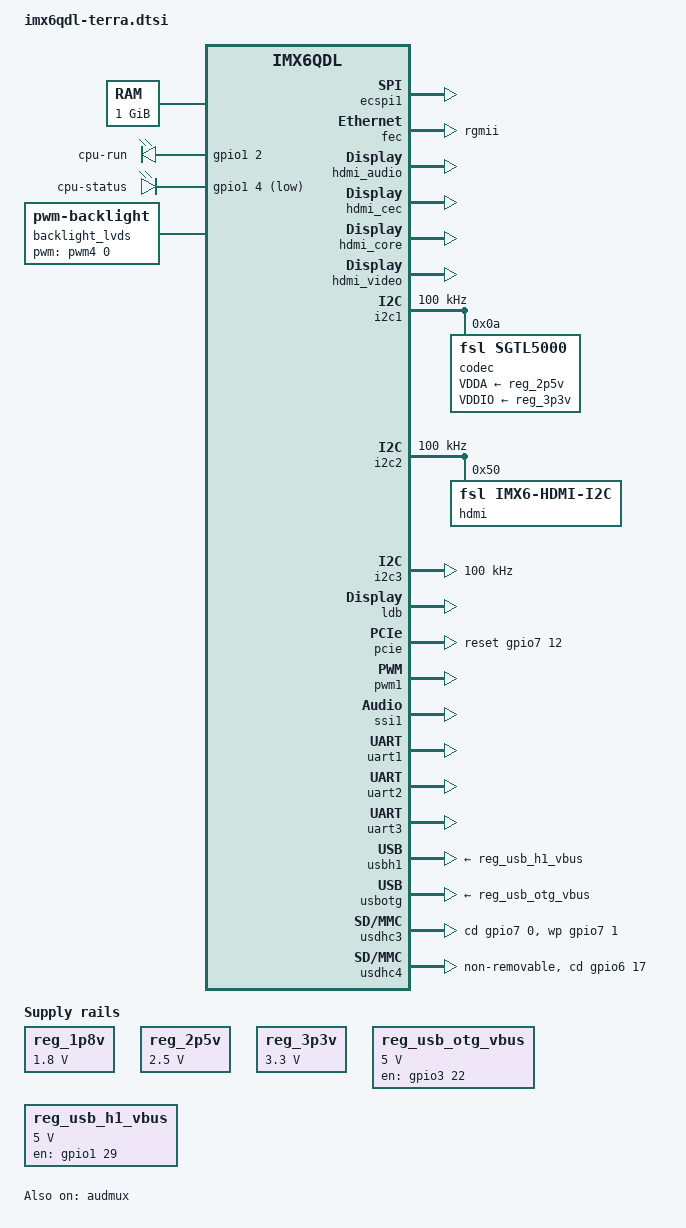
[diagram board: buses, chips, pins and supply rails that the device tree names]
/*
 * Copyright 2013 Boundary Devices
 * Copyright 2012 Freescale Semiconductor, Inc.
 * Copyright 2011 Linaro Ltd.
 *
 * The code contained herein is licensed under the GNU General Public
 * License. You may obtain a copy of the GNU General Public License
 * Version 2 or later at the following locations:
 *
 * http://www.opensource.org/licenses/gpl-license.html
 * http://www.gnu.org/copyleft/gpl.html
 */
#include <dt-bindings/input/input.h>

/ {
	aliases {
		mxcfb0 = &mxcfb1;
		mxcfb1 = &mxcfb2;
		mxcfb2 = &mxcfb3;
		mxcfb3 = &mxcfb4;
	};

	memory {
		reg = <0x10000000 0x40000000>;
	};

	leds {
		compatible = "gpio-leds";

		cpu-run {
			label = "cpu-run";
			gpios = <&gpio1 2 0>; 
			linux,default-trigger = "timer";
			retain-state-suspended;
		};
		cpu-status {
			label = "cpu-status";
			gpios = <&gpio1 4 1>; 
			linux,default-trigger = "none";
			retain-state-suspended;
		};
	};  

	regulators {
		compatible = "simple-bus";

		reg_1p8v: 1p8v {
			compatible = "regulator-fixed";
			regulator-name = "1P8V";
			regulator-min-microvolt = <1800000>;
			regulator-max-microvolt = <1800000>;
			regulator-always-on;
		};

		reg_2p5v: 2p5v {
			compatible = "regulator-fixed";
			regulator-name = "2P5V";
			regulator-min-microvolt = <2500000>;
			regulator-max-microvolt = <2500000>;
			regulator-always-on;
		};

		reg_3p3v: 3p3v {
			compatible = "regulator-fixed";
			regulator-name = "3P3V";
			regulator-min-microvolt = <3300000>;
			regulator-max-microvolt = <3300000>;
			regulator-always-on;
		};

		reg_usb_otg_vbus: usb_otg_vbus {
			compatible = "regulator-fixed";
			regulator-name = "usb_otg_vbus";
			regulator-min-microvolt = <5000000>;
			regulator-max-microvolt = <5000000>;
			gpio = <&gpio3 22 0>;
			enable-active-high;
		};

		reg_usb_h1_vbus: usb_h1_vbus {
			compatible = "regulator-fixed";
			regulator-name = "usb_h1_vbus";
			regulator-min-microvolt = <5000000>;
			regulator-max-microvolt = <5000000>;
			gpio = <&gpio1 29 0>;
			enable-active-high;
		};
	};

	sound {
		compatible = "fsl,imx6q-terra-sgtl5000",
			     "fsl,imx-audio-sgtl5000";
		model = "imx6q-terra-sgtl5000";
		ssi-controller = <&ssi1>;
		audio-codec = <&codec>;
		audio-routing =
			"MIC_IN", "Mic Jack",
			"Mic Jack", "Mic Bias",
			"Headphone Jack", "HP_OUT";
		mux-int-port = <1>;
		mux-ext-port = <4>;
	};
	sound-hdmi {
		compatible = "fsl,imx6q-audio-hdmi",
			     "fsl,imx-audio-hdmi";
		model = "imx-audio-hdmi";
		hdmi-controller = <&hdmi_audio>;
	};

	mxcfb1: fb@0 {
		compatible = "fsl,mxc_sdc_fb";
		disp_dev = "hdmi";
		interface_pix_fmt = "RGB24";
		mode_str ="1920x1080M@60";
		default_bpp = <24>;
		int_clk = <0>;
		late_init = <0>;
		status = "okay";
/*		status = "disabled"; */
	};

	mxcfb2: fb@1 {
		compatible = "fsl,mxc_sdc_fb";
		disp_dev = "ldb";
		interface_pix_fmt = "RGB666";
		mode_str ="LDB-XGA";
		default_bpp = <16>;
		int_clk = <0>;
		late_init = <0>;
		status = "okay";
/*		status = "disabled"; */
	};

	mxcfb3: fb@2 {
		compatible = "fsl,mxc_sdc_fb";
		disp_dev = "lcd";
		interface_pix_fmt = "RGB565";
		mode_str ="CLAA-WVGA";
		default_bpp = <16>;
		int_clk = <0>;
		late_init = <0>;
		status = "okay";
/*		status = "disabled"; */
	};

	mxcfb4: fb@3 {
		compatible = "fsl,mxc_sdc_fb";
		disp_dev = "ldb";
		interface_pix_fmt = "RGB666";
		mode_str ="LDB-XGA";
		default_bpp = <16>;
		int_clk = <0>;
		late_init = <0>;
		status = "okay";
/*		status = "disabled"; */
	};

	backlight_lvds {
		compatible = "pwm-backlight";
		pwms = <&pwm4 0 5000000>;
		brightness-levels = <0 4 8 16 32 64 128 255>;
		default-brightness-level = <7>;
	};

	v4l2_cap_0: v4l2_cap_0 {
		compatible = "fsl,imx6q-v4l2-capture";
		ipu_id = <0>;
		csi_id = <0>;
		mclk_source = <0>;
		status = "okay";
	};

	v4l2_cap_1: v4l2_cap_1 {
		compatible = "fsl,imx6q-v4l2-capture";
		ipu_id = <0>;
		csi_id = <1>;
		mipi_camera = <1>;
		mclk_source = <0>;
		status = "okay";
	};

	v4l2_cap_2: v4l2_cap_2 {
		compatible = "fsl,imx6q-v4l2-capture";
		ipu_id = <0>;
		csi_id = <1>;
		mclk_source = <0>;
		status = "okay";
	};

	v4l2_cap_3: v4l2_cap_3 {
		compatible = "fsl,imx6q-v4l2-capture";
		ipu_id = <0>;
		csi_id = <0>;
		mipi_camera = <1>;
		mclk_source = <0>;
		status = "okay";
	};

	v4l2_out {
		compatible = "fsl,mxc_v4l2_output";
		status = "okay";
	};
};

&audmux {
	pinctrl-names = "default";
	pinctrl-0 = <&pinctrl_audmux_1>;
	status = "okay";
};

&ecspi1 {
	fsl,spi-num-chipselects = <1>;
	cs-gpios = <&gpio3 19 0>;
	pinctrl-names = "default";
	pinctrl-0 = <&pinctrl_ecspi1_1>;
	status = "okay";
};

&fec {
	pinctrl-names = "default";
	pinctrl-0 = <&pinctrl_enet_1>;
	phy-mode = "rgmii";
	status = "okay";
};

&flexcan1 {
	pinctrl-names = "default";
	pinctrl-0 = <&pinctrl_flexcan1_3>;
	status = "disabled";
};

&flexcan2 {
	pinctrl-names = "default";
	pinctrl-0 = <&pinctrl_flexcan2_1>;
	status = "disabled";
};

&hdmi_audio {
	status = "okay";
};

&hdmi_cec {
	pinctrl-names = "default";
	pinctrl-0 = <&pinctrl_hdmi_cec_2>;
	status = "okay";
};

&hdmi_core {
	ipu_id = <0>;
	disp_id = <0>;
	status = "okay";
};

&hdmi_video {
	fsl,phy_reg_vlev = <0x0294>;
	fsl,phy_reg_cksymtx = <0x800d>;
	status = "okay";
};

&i2c1 {
	clock-frequency = <100000>;
	pinctrl-names = "default";
	pinctrl-0 = <&pinctrl_i2c1_2>;
	status = "okay";

	codec: sgtl5000@0a {
		compatible = "fsl,sgtl5000";
		reg = <0x0a>;
		clocks = <&clks 201>;
		VDDA-supply = <&reg_2p5v>;
		VDDIO-supply = <&reg_3p3v>;
	};
};

&i2c2 {
	clock-frequency = <100000>;
	pinctrl-names = "default";
	pinctrl-0 = <&pinctrl_i2c2_2>;
	status = "okay";

	hdmi: edid@50 {
		compatible = "fsl,imx6-hdmi-i2c";
		reg = <0x50>;
	};
};

&i2c3 {
        clock-frequency = <100000>;
        pinctrl-names = "default";
        pinctrl-0 = <&pinctrl_i2c3_5>;
        status = "okay";
};

&iomuxc {
	pinctrl-names = "default";
	pinctrl-0 = <&pinctrl_hog_1>;

	hog {
		pinctrl_hog_1: hoggrp-1 {
			fsl,pins = <
				MX6QDL_PAD_GPIO_2__GPIO1_IO02       0x80000000  /* CPU RUN LED */
				MX6QDL_PAD_GPIO_4__GPIO1_IO04       0x80000000  /* CPU Status */
				MX6QDL_PAD_ENET_CRS_DV__GPIO1_IO25  0x0f0b0     /* ethernet phy reset */
				MX6QDL_PAD_ENET_RXD1__GPIO1_IO26    0x1b0b0     /* ethernet phy interrupt */
				MX6QDL_PAD_SD3_DAT5__GPIO7_IO00     0x80000000  /* USDHC3 CD */
				MX6QDL_PAD_SD3_DAT4__GPIO7_IO01     0x1b0b0     /* USDHC3 WP */
				MX6QDL_PAD_SD3_DAT7__GPIO6_IO17     0x80000000  /* USDHC4 CD */
				MX6QDL_PAD_SD3_DAT6__GPIO6_IO18     0x1b0b0     /* USDHC4 WP */
				MX6QDL_PAD_NANDF_WP_B__GPIO6_IO09   0x80000000  /* I2C3  touch screen interrupt */
				MX6QDL_PAD_GPIO_0__CCM_CLKO1        0x000b0     /* SGTL5000 sys_mclk */
				MX6QDL_PAD_GPIO_1__WDOG2_B          0x80000000  /* Watchdog2 */
				MX6QDL_PAD_GPIO_17__GPIO7_IO12      0x0f0b0     /* PCIe RESET# */
				MX6QDL_PAD_CSI0_DATA_EN__GPIO5_IO20 0x80000000  /* PCIE WAKE#  */
			>;
		};
	};
};

&ldb {
	ipu_id = <1>;
	disp_id = <0>;
	ext_ref = <1>;
	mode = "sep0";
	sec_ipu_id = <1>;
	sec_disp_id = <1>;
	status = "okay";
};

&pcie {
	reset-gpio = <&gpio7 12 0>;
	wake-up-gpio = <&gpio5 20 0>;
	status = "okay";
};

&pwm1 {
	pinctrl-names = "default";
	pinctrl-0 = <&pinctrl_pwm1_1>;
	status = "okay";
};

&ssi1 {
	fsl,mode = "i2s-slave";
	status = "okay";
};

&uart1 {
	pinctrl-names = "default";
	pinctrl-0 = <&pinctrl_uart1_1>;
	status = "okay";
};

&uart2 {
	pinctrl-names = "default";
	pinctrl-0 = <&pinctrl_uart2_1>;
	status = "okay";
};

&uart3 {
	pinctrl-names = "default";
	pinctrl-0 = <&pinctrl_uart3_3>;
	status = "okay";
};

&uart4 {
    pinctrl-names = "default";
    pinctrl-0 = <&pinctrl_uart4_1>;
    status = "disabled";
};

&usbh1 {
	vbus-supply = <&reg_usb_h1_vbus>;
	status = "okay";
};

&usbotg {
	vbus-supply = <&reg_usb_otg_vbus>;
	pinctrl-names = "default";
	pinctrl-0 = <&pinctrl_usbotg_2>;
	disable-over-current;
	status = "okay";
};

&usdhc3 {
	pinctrl-names = "default", "state_100mhz", "state_200mhz";
	pinctrl-0 = <&pinctrl_usdhc3_2>;
	pinctrl-1 = <&pinctrl_usdhc3_2_100mhz>;
	pinctrl-2 = <&pinctrl_usdhc3_2_200mhz>;
	cd-gpios = <&gpio7 0 0>; 
	wp-gpios = <&gpio7 1 0>; 
	no-1-8-v;
	keep-power-in-suspend;
	enable-sdio-wakeup;
	status = "okay";
};

&usdhc4 {
	pinctrl-names = "default";
	pinctrl-0 = <&pinctrl_usdhc4_2>;
	cd-gpios = <&gpio6 17 0>; 
	#wp-gpios = <&gpio6 18 0>;
	non-removable;
	no-1-8-v;
	keep-power-in-suspend;
	status = "okay";
};

